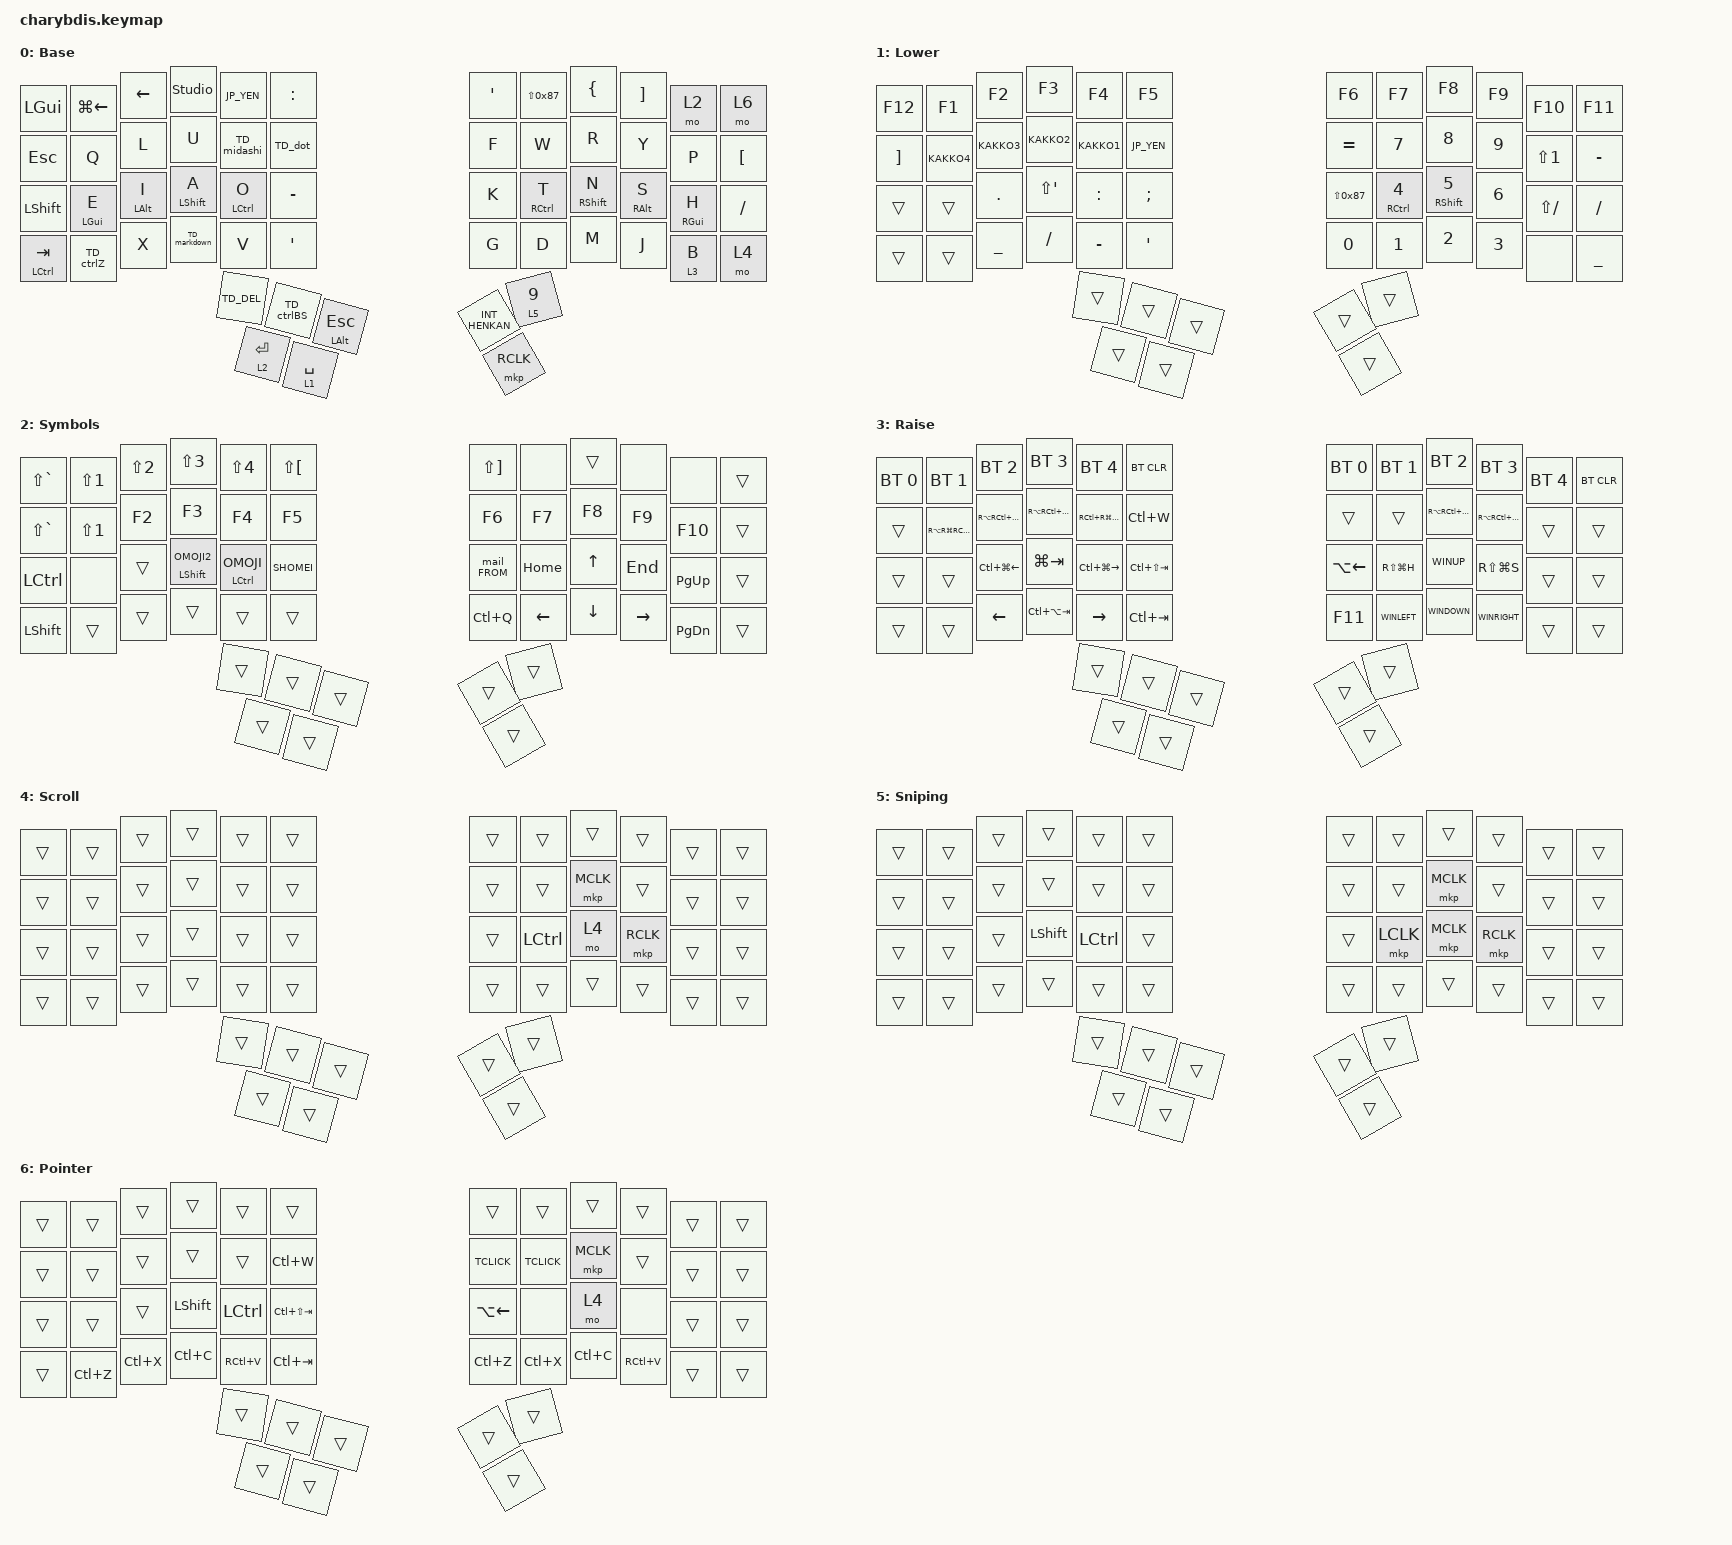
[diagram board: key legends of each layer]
#include <dt-bindings/zmk/mouse.h>
#include <behaviors/mouse_keys.dtsi>
#include <behaviors.dtsi>
#include <dt-bindings/zmk/bt.h>
#include <dt-bindings/zmk/keys.h>
#include <dt-bindings/zmk/outputs.h>
#include <dt-bindings/zmk/pointing.h>


// OS設定を日本語キーボードのまま使用するための変換定義
#define JP_DQUOTE       AT                // "
#define JP_AMPERSAND    CARET             // &
#define JP_QUOTE        AMPERSAND         // '
#define JP_EQUAL        UNDER             // =
#define JP_CARET        EQUAL             // ^
#define JP_YEN          0x89              // ¥
#define JP_PLUS         COLON             // +
#define JP_TILDE        PLUS              // ~
#define JP_PIPE         LS(0x89)          // |
#define JP_AT           LEFT_BRACKET      // @
#define JP_COLON        SINGLE_QUOTE      // :
#define JP_ASTERISK     DOUBLE_QUOTES     // *
#define JP_BACKQUOTE    LEFT_BRACE        // `
#define JP_UNDERSCORE   LS(0x87)          // _
#define JP_LBRACKET     RIGHT_BRACKET     // [
#define JP_RBRACKET     BACKSLASH         // ]
#define JP_LPAREN       ASTERISK          // (
#define JP_RPAREN       LEFT_PARENTHESIS  // )
#define JP_LBRACE       RIGHT_BRACE       // {
#define JP_RBRACE       PIPE              // }
#define JP_KANA         LANGUAGE_1        // かな
#define JP_EISU         LANGUAGE_2        // 英数
#define JP_HANZEN       GRAVE             // 半角/全角


/ {
    chosen { zmk,physical-layout = &charybdis_6col_layout; };
};

&mt {
    quick-tap-ms = <200>;
    flavor = "tap-preferred";
    tapping-term-ms = <170>;
};

&lt {
    quick-tap-ms = <200>;
    flavor = "tap-preferred";
    tapping-term-ms = <170>;
};

// Layer definitions
/* #define BASE 0
#define POINTER 1
#define LOWER 2
#define RAISE 3
#define SYMBOLS 4
#define SCROLL 5
#define SNIPING 6
#define GAMING 7
 */
#define BASE 0
#define LOWER 1
#define SYMBOLS 2
#define RAISE 3
#define SCROLL 4
#define SNIPING 5
#define POINTER 6
/* #define GAMING 7
*/


/ {
  behaviors {
    // Hold-tap behavior for layer with tap-preferred
    blt: blt {
      compatible = "zmk,behavior-hold-tap";
      #binding-cells = <2>;
      flavor = "tap-preferred";
      tapping-term-ms = <200>;
      quick-tap-ms = <300>;
      require-prior-idle-ms = <100>;
      bindings = <&mo>, <&kp>;
    };

    // Tap-dance for GUI/Ctrl+B
    gui_ctrlb: gui_ctrlb {
      compatible = "zmk,behavior-tap-dance";
      #binding-cells = <0>;
      tapping-term-ms = <200>;
      bindings = <&kp LGUI>, <&kp LC(B)>;
    };

    // Home row mods - Left hand
    hml: home_row_mod_left {
      compatible = "zmk,behavior-hold-tap";
      #binding-cells = <2>;
      flavor = "balanced";
      require-prior-idle-ms = <150>;
      tapping-term-ms = <280>;
      quick-tap-ms = <175>;
      bindings = <&kp>, <&kp>;
      hold-trigger-key-positions = <6 7 8 9 10 11 18 19 20 21 22 23 30 31 32 33 34 35 42 43 44 45 46 47 53 54 55>; // Right side keys
      hold-trigger-on-release;
    };

    // Home row mods - Right hand
    hmr: home_row_mod_right {
      compatible = "zmk,behavior-hold-tap";
      #binding-cells = <2>;
      flavor = "balanced";
      require-prior-idle-ms = <150>;
      tapping-term-ms = <280>;
      quick-tap-ms = <175>;
      bindings = <&kp>, <&kp>;
      hold-trigger-key-positions = <0 1 2 3 4 5 12 13 14 15 16 17 24 25 26 27 28 29 36 37 38 39 40 41 48 49 50 51 52>; // Left side keys
      hold-trigger-on-release;
    };
  };

  macros {
    // Ctrl+Alt+Cmd macro
    CAC: CAC {
      compatible = "zmk,behavior-macro-one-param";
      #binding-cells = <1>;
      bindings
        = <&macro_press &kp LCTRL &kp LALT &kp LGUI>
        , <&macro_param_1to1>
        , <&macro_tap &kp MACRO_PLACEHOLDER>
        , <&macro_release &kp LCTRL &kp LALT &kp LGUI>
        ;
    };

    // Ctrl+Shift+Alt macro
    CSA: CSA {
      compatible = "zmk,behavior-macro-one-param";
      #binding-cells = <1>;
      bindings
        = <&macro_press &kp LCTRL &kp LSHIFT &kp LALT>
        , <&macro_param_1to1>
        , <&macro_tap &kp MACRO_PLACEHOLDER>
        , <&macro_release &kp LCTRL &kp LSHIFT &kp LALT>
        ;
    };

    // Ctrl+Alt macro
    CA: CA {
      compatible = "zmk,behavior-macro-one-param";
      #binding-cells = <1>;
      bindings
        = <&macro_press &kp LCTRL &kp LALT>
        , <&macro_param_1to1>
        , <&macro_tap &kp MACRO_PLACEHOLDER>
        , <&macro_release &kp LCTRL &kp LALT>
        ;
    };

    // Shift+Middle Click macro
    ls_mclk: ls_mclk {
      compatible = "zmk,behavior-macro";
      wait-ms = <0>;
      tap-ms = <10>;
      #binding-cells = <0>;
      bindings
        = <&macro_press &kp LSHIFT>
        , <&macro_tap &mkp MCLK>
        , <&macro_release &kp LSHIFT>
        ;
    };
/*   };


 macros { */
        KAKKO1: KAKKO1 {
            compatible = "zmk,behavior-macro";
            #binding-cells = <0>;
            bindings = <&kp ASTERISK &kp LEFT_PARENTHESIS &kp LEFT_ARROW>;
            label = "KAKKO1";
        };

        KAKKO2: KAKKO2 {
            compatible = "zmk,behavior-macro";
            #binding-cells = <0>;
            bindings = <&kp RIGHT_BRACKET &kp BSLH &kp LEFT_ARROW>;
            label = "KAKKO2";
        };
        KAKKO3: KAKKO3 {
            compatible = "zmk,behavior-macro";
            #binding-cells = <0>;
            bindings = <&kp AT &kp AT &kp LEFT_ARROW>;
            label = "KAKKO3";
        };
        KAKKO4: KAKKO4 {
            compatible = "zmk,behavior-macro";
            #binding-cells = <0>;
            bindings = <&kp RIGHT_BRACE &kp PIPE &kp LEFT_ARROW>;
            label = "KAKKO4";
        };
        mail_FROM: mail_FROM {
            compatible = "zmk,behavior-macro";
            #binding-cells = <0>;
            bindings = <&kp LC(E) &kp LANG2 &kp LS(F) &kp LS(R) &kp LS(O) &kp LS(M) &kp SINGLE_QUOTE>;
            label = "MAIL_FROM";
        };

        OMOJI: OMOJI {
            compatible = "zmk,behavior-macro";
            #binding-cells = <0>;
            bindings = <&kp F9 &kp F9 &kp F8 &kp ENTER>;
            label = "OMOJI";
        };

        OMOJI2: OMOJI2 {
            compatible = "zmk,behavior-macro";
            #binding-cells = <0>;
            bindings = <&kp F9 &kp F9 &kp F8 &kp F8 &kp ENTER>;
            label = "OMOJI2";
        };

        SHOMEI: SHOMEI {
            compatible = "zmk,behavior-macro";
            #binding-cells = <0>;
            bindings = <&kp LEFT_ALT &kp N9 &kp ENTER>;
            label = "SHOMEI";
        };
        
        DCLICK: DCLICK {
            compatible = "zmk,behavior-macro";
            #binding-cells = <0>;
            bindings = <&mkp LCLK &mkp LCLK>;
            label = "DCLICK";
        };

        TCLICK: TCLICK {
            compatible = "zmk,behavior-macro";
            #binding-cells = <0>;
            bindings = <&mkp LCLK &mkp LCLK &mkp LCLK>;
            label = "TCLICK";
        };

        WINUP: WINUP {
            compatible = "zmk,behavior-macro";
            #binding-cells = <0>;
            bindings = <&sk LEFT_GUI &kp UP_ARROW>;
            label = "WINUP";
        };

        WINDOWN: WINDOWN {
            compatible = "zmk,behavior-macro";
            #binding-cells = <0>;
            bindings = <&sk LEFT_GUI &kp DOWN>;
            label = "WINDOWN";
        };

        WINLEFT: WINLEFT {
            compatible = "zmk,behavior-macro";
            #binding-cells = <0>;
            bindings = <&sk LEFT_GUI &kp LEFT>;
            label = "WINLEFT";
        };

        WINRIGHT: WINRIGHT {
            compatible = "zmk,behavior-macro";
            #binding-cells = <0>;
            bindings = <&sk LEFT_GUI &kp RIGHT>;
            label = "WINRIGHT";
        };
        INYO: INYO {
            compatible = "zmk,behavior-macro";
            #binding-cells = <0>;
            bindings = <&kp LS(PERIOD) &kp LC(V)>;
            label = "INYO";
        };
        EXPLO: EXPLO {
            compatible = "zmk,behavior-macro";
            #binding-cells = <0>;
            bindings = <&kp LC(C) &kp LG(E) &kp F4 &kp LC(V) &kp ENTER>;
            label = "EXPLO";
        };
        midashi: midashi {
            compatible = "zmk,behavior-macro";
            #binding-cells = <0>;
            bindings = <&kp INT_MUHENKAN &kp LS(SQT) &kp SPACE &kp INT_HENKAN>;
            label = "MIDASHI";
        };

        markdown: markdown {
            compatible = "zmk,behavior-macro";
            #binding-cells = <0>;
            bindings = <&kp INT_MUHENKAN &kp LS(SQT) &kp LS(SQT) &kp INT_HENKAN &kp LEFT>;
            label = "MARKDOWN";
        };

    };






  combos {
    compatible = "zmk,combos";
    timeout-ms = <20>;
    require-prior-idle-ms = <250>;

    // Studio Unlock Combo - all three right thumb keys
    combo_studio_unlock {
      timeout-ms = <50>;
      key-positions = <53 54 55>;
      bindings = <&studio_unlock>;
    };

/*     // Gaming layer toggle combo - keys 49, 55, 54
    combo_gaming_toggle {
      timeout-ms = <50>;
      key-positions = <49 55 54>;
      bindings = <&tog GAMING>;
    };
 */
/*   };




    combos { */
        compatible = "zmk,combos";

        cap {
            bindings = <&caps_word>;
            key-positions = <41 42>;
        };

        HENKAN {
            bindings = <&kp INT_HENKAN>;
            key-positions = <43 44>;
        };

        MUHENKAN {
            bindings = <&kp INT_MUHENKAN>;
            key-positions = <39 40>;
        };

        alpha {
            bindings = <&kp LBKT>;
            key-positions = <29 30>;
        };
        
        LCLICK {
            bindings = <&mkp LCLK>;
            key-positions = <31 32>;
        };

        RCLICK {
            bindings = <&mkp RCLK>;
            key-positions = <32 33>;
        };
    };

    behaviors {
        mt_B: mod_tap_B {
            compatible = "zmk,behavior-hold-tap";
            #binding-cells = <2>;
            flavor = "balanced";
            tapping-term-ms = <200>;
            bindings = <&kp>, <&kp>;
            display-name = "Mod-Tap_B";
        };
    };

    behaviors {
        TD_ctrlBS: TD_ctrlBS {
            compatible = "zmk,behavior-tap-dance";
            label = "TD_CTRLBS";
            #binding-cells = <0>;
            bindings =
                <&mt_B RIGHT_SHIFT BACKSPACE>,
                <&mt BACKSPACE RC(BACKSPACE)>;

            tapping-term-ms = <200>;
        };

        TD_ctrlZ: TD_ctrlZ {
            compatible = "zmk,behavior-tap-dance";
            label = "TD_CTRLZ";
            #binding-cells = <0>;
            bindings = <&mt_B LCTRL Z>, <&kp LC(Z)>;

            tapping-term-ms = <300>;
        };
        TD_DEL: TD_DEL {
            compatible = "zmk,behavior-tap-dance";
            label = "TD_DEL";
            #binding-cells = <0>;
            bindings = <&lt 4 TAB>, <&kp DEL>;
        };

        hm_OMOJI1: hm_OMOJI1 {
            compatible = "zmk,behavior-hold-tap";
            label = "HM_OMOJI1";
            bindings = <&kp>, <&OMOJI>;

            #binding-cells = <2>;
            tapping-term-ms = <100>;
        };

        hm_OMOJI2: hm_OMOJI2 {
            compatible = "zmk,behavior-hold-tap";
            label = "HM_OMOJI2";
            bindings = <&kp>, <&OMOJI2>;

            #binding-cells = <2>;
            tapping-term-ms = <100>;
        };
        TD_dot: TD_dot {
            compatible = "zmk,behavior-tap-dance";
            label = "TD_DOT";
            #binding-cells = <0>;
            bindings = <&kp PERIOD>, <&INYO>;
        };
        TD_midashi: TD_midashi {
            compatible = "zmk,behavior-tap-dance";
            label = "TD_MIDASHI";
            #binding-cells = <0>;
            bindings = <&kp COMMA>, <&midashi>;
        };

        TD_markdown: TD_markdown {
            compatible = "zmk,behavior-tap-dance";
            label = "TD_MARKDOWN";
            #binding-cells = <0>;
            bindings = <&kp C>, <&markdown>;
        };
    };

  
  keymap {
    compatible = "zmk,keymap";

// ╭─────────────┬─────────────┬─────────────┬─────────────┬─────────────┬─────────────╮   ╭─────────────┬─────────────┬─────────────┬─────────────┬─────────────┬─────────────╮
//    0             1             2             3             4             5                 6             7             8             9            10            11
// ├─────────────┼─────────────┼─────────────┼─────────────┼─────────────┼─────────────┤   ├─────────────┼─────────────┼─────────────┼─────────────┼─────────────┼─────────────┤
//   12            13            14            15            16            17                18            19            20            21            22            23
// ├─────────────┼─────────────┼─────────────┼─────────────┼─────────────┼─────────────┤   ├─────────────┼─────────────┼─────────────┼─────────────┼─────────────┼─────────────┤
//   24            25            26            27            28            29                30            31            32            33            34            35
// ├─────────────┼─────────────┼─────────────┼─────────────┼─────────────┼─────────────┤   ├─────────────┼─────────────┼─────────────┼─────────────┼─────────────┼─────────────┤
//   36            37            38            39            40            41                42            43            44            45            46            47
// ╰─────────────┴─────────────┴─────────────┴─────────────┴─────────────┴─────────────╯   ╰─────────────┴─────────────┴─────────────┴─────────────┴─────────────┴─────────────╯
//               ╭─────────────┬─────────────┬─────────────┬─────────────┬─────────────╮   ╭─────────────┬─────────────┬─────────────╮
//                  48            49            50            51            52                53            54            55
//               ╰─────────────┴─────────────┴─────────────┴─────────────┴─────────────╯   ╰─────────────┴─────────────┴─────────────╯
//                                                                         Actual Key Positions
//                                          ╭─────────────┬─────────────┬─────────────╮    ╭─────────────┬─────────────╮
//                                             50           51            48                 55            54
//                                          ╰─────────────┼─────────────┼─────────────┤    ├─────────────┼─────────────╯
//                                                          52            49                 53
//                                                        ╰─────────────┴─────────────╯    ╰─────────────╯

    base_layer {
      label = "BASE";
      display-name = "Base";
      bindings = <
/* // ╭─────────────┬─────────────┬─────────────┬─────────────┬─────────────┬─────────────╮   ╭─────────────┬─────────────┬─────────────┬─────────────┬─────────────┬─────────────╮
    &kp ESC       &kp N1        &kp N2        &kp N3        &kp N4        &kp N5            &kp N6        &kp N7        &kp N8        &kp N9        &kp N0        &kp DEL
// ├─────────────┼─────────────┼─────────────┼─────────────┼─────────────┼─────────────┤   ├─────────────┼─────────────┼─────────────┼─────────────┼─────────────┼─────────────┤
    &kp TAB       &kp Q         &kp W         &kp E         &kp R         &kp T             &kp Y         &kp U         &kp I         &kp O         &kp P         &kp BSLH
// ├─────────────┼─────────────┼─────────────┼─────────────┼─────────────┼─────────────┤   ├─────────────┼─────────────┼─────────────┼─────────────┼─────────────┼─────────────┤
    &kp RCTRL     &kp A         &kp S         &kp D         &kp F         &kp G             &kp H         &kp J         &kp K         &kp L         &kp SEMI      &kp SQT
// ├─────────────┼─────────────┼─────────────┼─────────────┼─────────────┼─────────────┤   ├─────────────┼─────────────┼─────────────┼─────────────┼─────────────┼─────────────┤
    &kp LSFT      &hml LGUI Z   &hml LALT X   &hml LCTRL C  &hml LSHIFT V &kp B             &kp N         &hmr RSHIFT M &hmr RCTRL COMMA &hmr RALT DOT &hmr RGUI FSLH &kp RSFT
// ╰─────────────┴─────────────┴─────────────┴─────────────┴─────────────┴─────────────╯   ╰─────────────┴─────────────┴─────────────┴─────────────┴─────────────┴─────────────╯
//               ╭─────────────┬─────────────┬─────────────┬─────────────┬─────────────╮   ╭─────────────┬─────────────┬─────────────╮
                  &kp LALT      &mo LOWER     &mo POINTER   &gui_ctrlb    &kp LCTRL         &kp RET      &blt SYMBOLS SPACE  &blt RAISE BSPC
//               ╰─────────────┴─────────────┴─────────────┴─────────────┴─────────────╯   ╰─────────────┴─────────────┴─────────────╯
 */

&kp LEFT_GUI     &kp LG(LEFT_ARROW)  &kp LEFT_ARROW  &studio_unlock    &kp JP_YEN     &kp JP_PLUS    &kp JP_COLON    &kp JP_UNDERSCORE  &kp JP_BACKQUOTE  &kp RBKT      &mo 2              &mo 6
&kp ESC          &kp Q               &kp L           &kp U             &TD_midashi    &TD_dot        &kp F           &kp W              &kp R             &kp Y         &kp P              &kp LBKT
&kp LSHFT        &mt_B LGUI E        &mt_B LALT I    &mt_B LSHFT A     &mt_B LCTRL O  &kp MINUS      &kp K           &mt_B RCTRL T      &mt_B RSHFT N     &mt_B RALT S  &mt_B RIGHT_GUI H  &kp SLASH
&mt_B LCTRL TAB  &TD_ctrlZ           &kp X           &TD_markdown      &kp V          &kp APOS       &kp G           &kp D              &kp M             &kp J         &lt 3 B            &mo 4
                                                     &mt LEFT_ALT ESC  &lt 1 SPACE    &TD_DEL        &TD_ctrlBS      &lt 2 ENTER
                                                                       &mkp RCLK      &lt 5 N9       &kp INT_HENKAN
 >;
    };


    lower_layer {
      label = "LOWER";
      display-name = "Lower";
      bindings = <
/* // ╭─────────────┬─────────────┬─────────────┬─────────────┬─────────────┬─────────────╮   ╭─────────────┬─────────────┬─────────────┬─────────────┬─────────────┬─────────────╮
    &kp ESC       &CAC F1       &CAC F2       &CAC F3       &CAC F4       &CAC F5           &CAC F6       &CAC F7       &CAC F8       &CAC F9       &CAC F10      &trans
// ├─────────────┼─────────────┼─────────────┼─────────────┼─────────────┼─────────────┤   ├─────────────┼─────────────┼─────────────┼─────────────┼─────────────┼─────────────┤
    &none         &CA Q         &CA W         &CA E         &CA R         &CA T             &CA Y         &CA U         &CA I         &CA O         &CAC F11      &CAC F12
// ├─────────────┼─────────────┼─────────────┼─────────────┼─────────────┼─────────────┤   ├─────────────┼─────────────┼─────────────┼─────────────┼─────────────┼─────────────┤
    &kp CAPS      &CA A         &CA S         &CA D         &CA F         &CA G             &CA H         &CA J         &CA K         &CA L         &CA SEMI      &CA SQT
// ├─────────────┼─────────────┼─────────────┼─────────────┼─────────────┼─────────────┤   ├─────────────┼─────────────┼─────────────┼─────────────┼─────────────┼─────────────┤
    &trans        &CA Z         &CA X         &CA C         &CA V         &CSA F1           &kp LS(LG(GRAVE)) &kp LG(GRAVE) &CA COMMA     &CA DOT       &CA FSLH      &trans
// ╰─────────────┴─────────────┴─────────────┴─────────────┴─────────────┴─────────────╯   ╰─────────────┴─────────────┴─────────────┴─────────────┴─────────────┴─────────────╯
//               ╭─────────────┬─────────────┬─────────────┬─────────────┬─────────────╮   ╭─────────────┬─────────────┬─────────────╮
                  &trans        &trans        &trans        &trans        &trans            &trans        &trans        &trans
//               ╰─────────────┴─────────────┴─────────────┴─────────────┴─────────────╯   ╰─────────────┴─────────────┴─────────────╯
Number 1 */
&kp F12   &kp F1    &kp F2     &kp F3       &kp F4     &kp F5        &kp F6             &kp F7          &kp F8          &kp F9  &kp F10        &kp F11
&kp RBKT  &KAKKO4   &KAKKO3    &KAKKO2      &KAKKO1    &kp JP_YEN    &kp EQUAL          &kp N7          &kp N8          &kp N9  &kp LS(N1)     &kp MINUS
&trans    &trans    &kp DOT    &kp LS(SQT)  &kp COLON  &kp SEMI      &kp JP_UNDERSCORE  &mt_B RCTRL N4  &mt_B RSHFT N5  &kp N6  &kp LS(SLASH)  &kp SLASH
&trans    &trans    &kp UNDER  &kp SLASH    &kp MINUS  &kp APOS      &kp N0             &kp N1          &kp N2          &kp N3  &none          &kp UNDER
                               &trans       &trans     &trans        &trans             &trans
                                            &trans     &trans        &trans

 >;
    };

    symbols_layer {
      label = "SYMBOLS";
      display-name = "Symbols";
      bindings = <
/* // ╭─────────────┬─────────────┬─────────────┬─────────────┬─────────────┬─────────────╮   ╭─────────────┬─────────────┬─────────────┬─────────────┬─────────────┬─────────────╮
    &kp GRAVE     &trans        &trans        &trans        &trans        &trans            &trans        &trans        &trans        &trans        &trans        &trans
// ├─────────────┼─────────────┼─────────────┼─────────────┼─────────────┼─────────────┤   ├─────────────┼─────────────┼─────────────┼─────────────┼─────────────┼─────────────┤
    &kp TILDE     &kp SQT       &kp LT        &kp GT        &kp DQT       &kp DOT           &kp COMMA     &kp AMPS      &kp LBKT      &kp RBKT      &kp PRCNT     &trans
// ├─────────────┼─────────────┼─────────────┼─────────────┼─────────────┼─────────────┤   ├─────────────┼─────────────┼─────────────┼─────────────┼─────────────┼─────────────┤
    &trans        &kp EXCL      &kp MINUS     &kp PLUS      &kp EQUAL     &kp UNDER         &kp PIPE      &kp COLON     &kp LPAR      &kp RPAR      &kp QMARK     &trans
// ├─────────────┼─────────────┼─────────────┼─────────────┼─────────────┼─────────────┤   ├─────────────┼─────────────┼─────────────┼─────────────┼─────────────┼─────────────┤
    &trans        &kp CARET     &kp FSLH      &kp ASTRK     &kp BSLH      &kp HASH          &kp TILDE     &kp DLLR      &kp LBRC      &kp RBRC      &kp AT        &trans
// ╰─────────────┴─────────────┴─────────────┴─────────────┴─────────────┴─────────────╯   ╰─────────────┴─────────────┴─────────────┴─────────────┴─────────────┴─────────────╯
//               ╭─────────────┬─────────────┬─────────────┬─────────────┬─────────────╮   ╭─────────────┬─────────────┬─────────────╮
                    &trans        &trans        &trans        &trans        &trans            &trans        &trans        &trans
//               ╰─────────────┴─────────────┴─────────────┴─────────────┴─────────────╯   ╰─────────────┴─────────────┴─────────────╯
symbol 2 */
&kp LS(GRAVE)     &kp LS(N1)  &kp LS(N2)  &kp LS(N3)               &kp LS(N4)                 &kp LS(LBKT)    &kp LS(RBKT)  &none     &trans    &none      &none      &trans
&kp LS(GRAVE)     &kp LS(N1)  &kp F2      &kp F3                   &kp F4                     &kp F5          &kp F6        &kp F7    &kp F8    &kp F9     &kp F10    &trans
&kp LEFT_CONTROL  &none       &trans      &hm_OMOJI2 LEFT_SHIFT 0  &hm_OMOJI1 LEFT_CONTROL 0  &SHOMEI         &mail_FROM    &kp HOME  &kp UP    &kp END    &kp PG_UP  &trans
&kp LEFT_SHIFT    &trans      &trans      &trans                   &trans                     &trans          &kp LC(Q)     &kp LEFT  &kp DOWN  &kp RIGHT  &kp PG_DN  &trans
                                          &trans                   &trans                     &trans          &trans        &trans
                                                                   &trans                     &trans          &trans


 >;
    };


    raise_layer {
      label = "RAISE";
      display-name = "Raise";
      bindings = <
/* // ╭─────────────┬─────────────┬─────────────┬─────────────┬─────────────┬─────────────╮   ╭─────────────┬─────────────┬─────────────┬─────────────┬─────────────┬─────────────╮
    &kp ESC       &kp F1        &kp F2        &kp F3        &kp F4        &kp F5            &kp F6        &kp F7        &kp F8        &kp F9        &kp F10       &trans
// ├─────────────┼─────────────┼─────────────┼─────────────┼─────────────┼─────────────┤   ├─────────────┼─────────────┼─────────────┼─────────────┼─────────────┼─────────────┤
    &trans        &trans       &CAC W        &kp C_VOL_UP  &kp LG(MINUS) &kp LG(EQUAL)     &bt BT_SEL 0  &bt BT_SEL 1  &bt BT_SEL 2  &bt BT_SEL 3  &kp F11       &kp F12
// ├─────────────┼─────────────┼─────────────┼─────────────┼─────────────┼─────────────┤   ├─────────────┼─────────────┼─────────────┼─────────────┼─────────────┼─────────────┤
    &trans        &none         &kp C_PREV    &kp C_PP      &kp C_NEXT    &kp LG(N0)        &kp F23       &kp F24       &none         &none         &none         &bootloader
// ├─────────────┼─────────────┼─────────────┼─────────────┼─────────────┼─────────────┤   ├─────────────┼─────────────┼─────────────┼─────────────┼─────────────┼─────────────┤
    &trans        &none         &none         &kp C_VOL_DN  &none         &none             &bt BT_CLR    &bt BT_CLR_ALL &none        &none         &none         &none
// ╰─────────────┴─────────────┴─────────────┴─────────────┴─────────────┴─────────────╯   ╰─────────────┴─────────────┴─────────────┴─────────────┴─────────────┴─────────────╯
//               ╭─────────────┬─────────────┬─────────────┬─────────────┬─────────────╮   ╭─────────────┬─────────────┬─────────────╮
                    &trans        &trans        &trans        &trans        &trans            &trans        &trans        &trans
//               ╰─────────────┴─────────────┴─────────────┴─────────────┴─────────────╯   ╰─────────────┴─────────────┴─────────────╯
F_Keys 3 */
&bt BT_SEL 0  &bt BT_SEL 1              &bt BT_SEL 2              &bt BT_SEL 3              &bt BT_SEL 4              &bt BT_CLR         &bt BT_SEL 0  &bt BT_SEL 1   &bt BT_SEL 2        &bt BT_SEL 3        &bt BT_SEL 4  &bt BT_CLR
&trans        &kp RA(RG(RC(NUMBER_1)))  &kp RA(RC(RG(NUMBER_2)))  &kp RA(RC(RG(NUMBER_3)))  &kp RC(RG(RA(NUMBER_4)))  &kp LC(W)          &trans        &trans         &kp RA(RC(RG(N9)))  &kp RA(RC(RG(N0)))  &trans        &trans
&trans        &trans                    &kp LC(LG(LEFT_ARROW))    &kp LG(TAB)               &kp LC(LG(RIGHT_ARROW))   &kp LC(LS(TAB))    &kp LA(LEFT_ARROW)        &kp RS(LG(H))  &WINUP              &kp RS(LG(S))       &trans        &trans
&trans        &trans                    &kp LEFT_ARROW            &kp LC(LA(TAB))           &kp RIGHT_ARROW           &kp LC(TAB)        &kp F11       &WINLEFT       &WINDOWN            &WINRIGHT           &trans        &trans
                                                                  &trans                    &trans                    &trans             &trans        &trans
                                                                                            &trans                    &trans             &trans


 >;
    };


    scroll_layer {
      label = "SCROLL";
      display-name = "Scroll";
      bindings = <
/* // ╭─────────────┬─────────────┬─────────────┬─────────────┬─────────────┬─────────────╮   ╭─────────────┬─────────────┬─────────────┬─────────────┬─────────────┬─────────────╮
    &trans        &trans        &trans        &trans        &trans        &trans            &trans        &trans        &trans        &trans        &trans        &trans
// ├─────────────┼─────────────┼─────────────┼─────────────┼─────────────┼─────────────┤   ├─────────────┼─────────────┼─────────────┼─────────────┼─────────────┼─────────────┤
    &trans        &trans        &trans        &trans        &trans        &trans            &trans        &trans        &trans        &trans        &trans        &trans
// ├─────────────┼─────────────┼─────────────┼─────────────┼─────────────┼─────────────┤   ├─────────────┼─────────────┼─────────────┼─────────────┼─────────────┼─────────────┤
    &trans        &trans        &trans        &trans        &trans        &trans            &trans        &trans        &trans        &trans        &trans        &trans
// ├─────────────┼─────────────┼─────────────┼─────────────┼─────────────┼─────────────┤   ├─────────────┼─────────────┼─────────────┼─────────────┼─────────────┼─────────────┤
    &trans        &trans        &trans        &trans        &trans        &trans            &trans        &trans        &trans        &trans        &trans        &trans
// ╰─────────────┴─────────────┴─────────────┴─────────────┴─────────────┴─────────────╯   ╰─────────────┴─────────────┴─────────────┴─────────────┴─────────────┴─────────────╯
//               ╭─────────────┬─────────────┬─────────────┬─────────────┬─────────────╮   ╭─────────────┬─────────────┬─────────────╮
                    &trans        &trans        &trans        &trans        &trans            &trans        &trans        &trans
//               ╰─────────────┴─────────────┴─────────────┴─────────────┴─────────────╯   ╰─────────────┴─────────────┴─────────────╯
MITEI 4*/
&trans  &trans  &trans  &trans  &trans  &trans    &trans  &trans            &trans     &trans     &trans  &trans
&trans  &trans  &trans  &trans  &trans  &trans    &trans  &trans            &mkp MCLK  &trans     &trans  &trans
&trans  &trans  &trans  &trans  &trans  &trans    &trans  &kp LEFT_CONTROL  &mo 4      &mkp RCLK  &trans  &trans
&trans  &trans  &trans  &trans  &trans  &trans    &trans  &trans            &trans     &trans     &trans  &trans
                        &trans  &trans  &trans    &trans  &trans
                                &trans  &trans    &trans

 >;
    };

    sniping_layer {
      label = "SNIPING";
      display-name = "Sniping";
      bindings = <
/* // ╭─────────────┬─────────────┬─────────────┬─────────────┬─────────────┬─────────────╮   ╭─────────────┬─────────────┬─────────────┬─────────────┬─────────────┬─────────────╮
    &trans        &trans        &trans        &trans        &trans        &trans            &trans        &trans        &trans        &trans        &trans        &trans
// ├─────────────┼─────────────┼─────────────┼─────────────┼─────────────┼─────────────┤   ├─────────────┼─────────────┼─────────────┼─────────────┼─────────────┼─────────────┤
    &trans        &trans        &trans        &trans        &trans        &trans            &trans        &trans        &trans        &trans        &trans        &trans
// ├─────────────┼─────────────┼─────────────┼─────────────┼─────────────┼─────────────┤   ├─────────────┼─────────────┼─────────────┼─────────────┼─────────────┼─────────────┤
    &trans        &trans        &trans        &trans        &trans        &trans            &trans        &trans        &trans        &trans        &trans        &trans
// ├─────────────┼─────────────┼─────────────┼─────────────┼─────────────┼─────────────┤   ├─────────────┼─────────────┼─────────────┼─────────────┼─────────────┼─────────────┤
    &trans        &trans        &trans        &trans        &trans        &trans            &trans        &trans        &trans        &trans        &trans        &trans
// ╰─────────────┴─────────────┴─────────────┴─────────────┴─────────────┴─────────────╯   ╰─────────────┴─────────────┴─────────────┴─────────────┴─────────────┴─────────────╯
//               ╭─────────────┬─────────────┬─────────────┬─────────────┬─────────────╮   ╭─────────────┬─────────────┬─────────────╮
                    &trans        &trans        &trans        &trans        &trans            &trans        &trans        &trans
//               ╰─────────────┴─────────────┴─────────────┴─────────────┴─────────────╯   ╰─────────────┴─────────────┴─────────────╯
Sniping 5 */
&trans  &trans  &trans  &trans          &trans            &trans    &trans  &trans     &trans     &trans     &trans  &trans
&trans  &trans  &trans  &trans          &trans            &trans    &trans  &trans     &mkp MCLK  &trans     &trans  &trans
&trans  &trans  &trans  &kp LEFT_SHIFT  &kp LEFT_CONTROL  &trans    &trans  &mkp LCLK  &mkp MCLK  &mkp RCLK  &trans  &trans
&trans  &trans  &trans  &trans          &trans            &trans    &trans  &trans     &trans     &trans     &trans  &trans
                        &trans          &trans            &trans    &trans  &trans
                                        &trans            &trans    &trans

 >;
    };

    pointer_layer {
      label = "POINTER";
      display-name = "Pointer";
      bindings = <
/* // ╭─────────────┬─────────────┬─────────────┬─────────────┬─────────────┬─────────────╮   ╭─────────────┬─────────────┬─────────────┬─────────────┬─────────────┬─────────────╮
    &kp GRAVE     &kp F1        &kp F2        &kp F3        &kp F4        &kp F5            &kp F6        &kp F7        &kp F8        &kp F9        &kp F10       &trans
// ├─────────────┼─────────────┼─────────────┼─────────────┼─────────────┼─────────────┤   ├─────────────┼─────────────┼─────────────┼─────────────┼─────────────┼─────────────┤
    &kp LA(TAB)   &kp LGUI      &kp LALT      &mo SNIPING   &mkp MB4      &mkp MB5          &kp HOME      &kp PG_DN     &kp PG_UP     &kp END       &kp F11       &kp F12
// ├─────────────┼─────────────┼─────────────┼─────────────┼─────────────┼─────────────┤   ├─────────────┼─────────────┼─────────────┼─────────────┼─────────────┼─────────────┤
    &kp RCTRL     &kp LG(A)     &ls_mclk      &mkp RCLK     &mkp LCLK     &mkp MCLK         &kp LEFT      &kp DOWN      &kp UP        &kp RIGHT     &kp MINUS     &kp EQUAL
// ├─────────────┼─────────────┼─────────────┼─────────────┼─────────────┼─────────────┤   ├─────────────┼─────────────┼─────────────┼─────────────┼─────────────┼─────────────┤
    &kp LSFT      &kp LG(Z)     &kp LG(X)     &kp LG(C)     &kp LG(V)     &mo SCROLL        &kp RC(LS(TAB)) &kp LC(TAB) &kp INS       &kp INS       &kp LBKT      &kp RBKT
// ╰─────────────┴─────────────┴─────────────┴─────────────┴─────────────┴─────────────╯   ╰─────────────┴─────────────┴─────────────┴─────────────┴─────────────┴─────────────╯
//               ╭─────────────┬─────────────┬─────────────┬─────────────┬─────────────╮   ╭─────────────┬─────────────┬─────────────╮
                  &trans        &trans        &trans        &trans        &trans            &trans        &trans        &trans
//               ╰─────────────┴─────────────┴─────────────┴─────────────┴─────────────╯   ╰─────────────┴─────────────┴─────────────╯
 */ 
&trans  &trans     &trans     &trans          &trans            &trans             &trans              &trans     &trans     &trans     &trans  &trans
&trans  &trans     &trans     &trans          &trans            &kp LC(W)          &TCLICK             &TCLICK    &mkp MCLK  &trans     &trans  &trans
&trans  &trans     &trans     &kp LEFT_SHIFT  &kp LEFT_CONTROL  &kp LC(LS(TAB))    &kp LA(LEFT_ARROW)  &none      &mo 4      &none      &trans  &trans
&trans  &kp LC(Z)  &kp LC(X)  &kp LC(C)       &kp RC(V)         &kp LC(TAB)        &kp LC(Z)           &kp LC(X)  &kp LC(C)  &kp RC(V)  &trans  &trans
                              &trans          &trans            &trans             &trans              &trans
                                              &trans            &trans             &trans


 >;
    };

/*     gaming_layer {
      label = "GAMING";
      display-name = "Gaming";
      bindings = <
// ╭─────────────┬─────────────┬─────────────┬─────────────┬─────────────┬─────────────╮   ╭─────────────┬─────────────┬─────────────┬─────────────┬─────────────┬─────────────╮
    &kp ESC       &kp N1       &kp N2        &kp N3        &kp N4        &kp N5            &kp N6        &kp N7        &kp N8        &kp N9        &kp N0        &kp DEL
// ├─────────────┼─────────────┼─────────────┼─────────────┼─────────────┼─────────────┤   ├─────────────┼─────────────┼─────────────┼─────────────┼─────────────┼─────────────┤
    &kp T        &kp TAB       &kp Q         &kp W         &kp E         &kp R             &kp Y         &kp U         &kp I         &kp O         &kp P         &kp BSLH
// ├─────────────┼─────────────┼─────────────┼─────────────┼─────────────┼─────────────┤   ├─────────────┼─────────────┼─────────────┼─────────────┼─────────────┼─────────────┤
    &kp G        &kp LSFT      &kp A         &kp S         &kp D         &kp F             &kp H         &kp J         &kp K         &kp L         &kp SEMI      &kp SQT
// ├─────────────┼─────────────┼─────────────┼─────────────┼─────────────┼─────────────┤   ├─────────────┼─────────────┼─────────────┼─────────────┼─────────────┼─────────────┤
    &kp B        &kp LCTRL     &kp Z         &kp X         &kp C         &kp V             &kp N         &kp M         &kp COMMA     &kp DOT       &kp FSLH      &kp RSFT
// ╰─────────────┴─────────────┴─────────────┴─────────────┴─────────────┴─────────────╯   ╰─────────────┴─────────────┴─────────────┴─────────────┴─────────────┴─────────────╯
//               ╭─────────────┬─────────────┬─────────────┬─────────────┬─────────────╮   ╭─────────────┬─────────────┬─────────────╮
                  &trans        &trans        &kp SPACE     &trans        &trans            &trans        &trans        &trans
//               ╰─────────────┴─────────────┴─────────────┴─────────────┴─────────────╯   ╰─────────────┴─────────────┴─────────────╯
      >;
    };
 */  };
};
